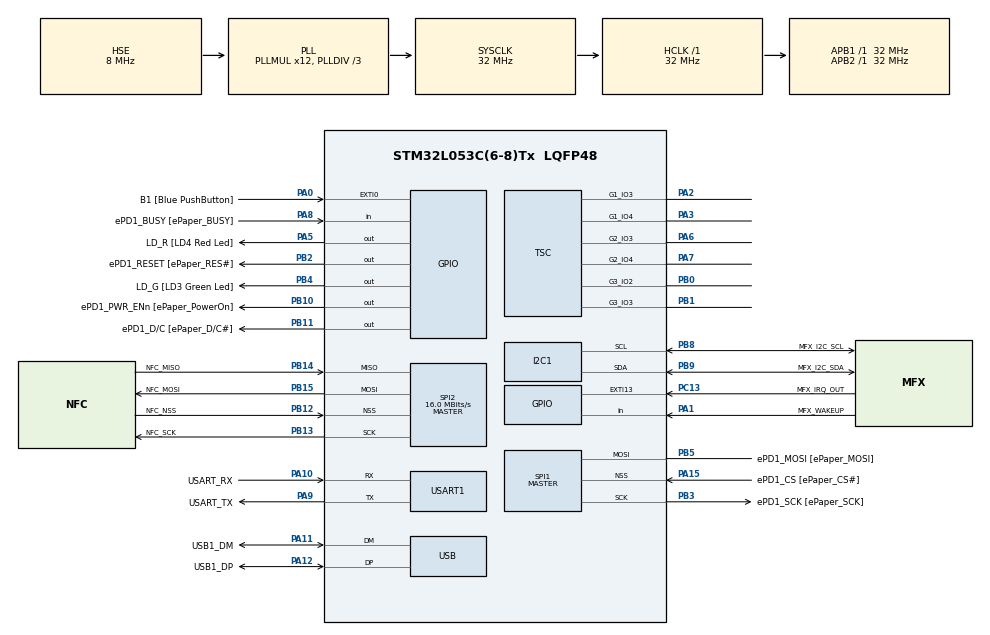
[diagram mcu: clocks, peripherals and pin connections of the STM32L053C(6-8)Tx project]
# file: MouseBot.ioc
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I2C1.Timing=0x00707CBB
Mcu.Family=STM32L0
Mcu.Name=STM32L053C(6-8)Tx
Mcu.Package=LQFP48
NVIC.USB_IRQn=true\:0\:0\:false\:false\:true\:false\:true
PA0.GPIO_Label=B1 [Blue PushButton]
PA0.GPIO_ModeDefaultEXTI=GPIO_MODE_EVT_RISING
PA0.GPIO_PuPd=GPIO_NOPULL
PA0.Signal=GPXTI0
PA1.GPIO_Label=MFX_WAKEUP
PA1.Signal=GPIO_Input
PA10.GPIO_Label=USART_RX
PA10.Mode=Asynchronous
PA10.Signal=USART1_RX
PA11.GPIO_Label=USB1_DM
PA11.Mode=Device
PA11.Signal=USB_DM
PA12.GPIO_Label=USB1_DP
PA12.Mode=Device
PA12.Signal=USB_DP
PA13.GPIO_Label=SWDIO
PA13.Mode=Serial_Wire
PA13.Signal=SYS_SWDIO
PA14.GPIO_Label=SWCLK
PA14.Mode=Serial_Wire
PA14.Signal=SYS_SWCLK
PA15.GPIO_Label=ePD1_CS [ePaper_CS\#]
PA15.GPIO_Mode=GPIO_MODE_AF_PP
PA15.GPIO_PuPd=GPIO_NOPULL
PA15.GPIO_Speed=GPIO_SPEED_FREQ_LOW
PA15.Mode=NSS_Signal_Hard_Input
PA15.Signal=SPI1_NSS
PA2.Mode=G1_IO3-Channel
PA2.Signal=TSC_G1_IO3
PA3.Mode=G1_IO4-Sampling
PA3.Signal=TSC_G1_IO4
PA5.GPIO_Label=LD_R [LD4 Red Led]
PA5.GPIO_ModeDefaultOutputPP=GPIO_MODE_OUTPUT_PP
PA5.GPIO_PuPd=GPIO_NOPULL
PA5.GPIO_Speed=GPIO_SPEED_FREQ_LOW
PA5.Signal=GPIO_Output
PA6.Mode=G2_IO3-Channel
PA6.Signal=TSC_G2_IO3
PA7.Mode=G2_IO4-Sampling
PA7.Signal=TSC_G2_IO4
PA8.GPIO_Label=ePD1_BUSY [ePaper_BUSY]
PA8.GPIO_Mode=GPIO_MODE_INPUT
PA8.GPIO_PuPd=GPIO_NOPULL
PA8.Signal=GPIO_Input
PA9.GPIO_Label=USART_TX
PA9.Mode=Asynchronous
PA9.Signal=USART1_TX
PB0.Mode=G3_IO2-Channel
PB0.Signal=TSC_G3_IO2
PB1.Mode=G3_IO3-Sampling
PB1.Signal=TSC_G3_IO3
PB10.GPIO_Label=ePD1_PWR_ENn [ePaper_PowerOn]
PB10.GPIO_ModeDefaultOutputPP=GPIO_MODE_OUTPUT_PP
PB10.GPIO_PuPd=GPIO_NOPULL
PB10.GPIO_Speed=GPIO_SPEED_FREQ_LOW
PB10.Signal=GPIO_Output
PB11.GPIO_Label=ePD1_D/C [ePaper_D/C\#]
PB11.GPIO_ModeDefaultOutputPP=GPIO_MODE_OUTPUT_PP
PB11.GPIO_PuPd=GPIO_NOPULL
PB11.GPIO_Speed=GPIO_SPEED_FREQ_LOW
PB11.Signal=GPIO_Output
PB12.GPIO_Label=NFC_NSS
PB12.Mode=NSS_Signal_Hard_Input
PB12.Signal=SPI2_NSS
PB13.GPIO_Label=NFC_SCK
PB13.Mode=Full_Duplex_Master
PB13.Signal=SPI2_SCK
PB14.GPIO_Label=NFC_MISO
PB14.Mode=Full_Duplex_Master
PB14.Signal=SPI2_MISO
PB15.GPIO_Label=NFC_MOSI
PB15.Mode=Full_Duplex_Master
PB15.Signal=SPI2_MOSI
PB2.GPIO_Label=ePD1_RESET [ePaper_RES\#]
PB2.GPIO_ModeDefaultOutputPP=GPIO_MODE_OUTPUT_PP
PB2.GPIO_PuPd=GPIO_NOPULL
PB2.GPIO_Speed=GPIO_SPEED_FREQ_LOW
PB2.Signal=GPIO_Output
PB3.GPIO_Label=ePD1_SCK [ePaper_SCK]
PB3.GPIO_Mode=GPIO_MODE_AF_PP
PB3.GPIO_PuPd=GPIO_NOPULL
PB3.GPIO_Speed=GPIO_SPEED_FREQ_LOW
PB3.Mode=Simplex_Bidirectional_Master
PB3.Signal=SPI1_SCK
PB4.GPIO_Label=LD_G [LD3 Green Led]
PB4.GPIO_ModeDefaultOutputPP=GPIO_MODE_OUTPUT_PP
PB4.GPIO_PuPd=GPIO_NOPULL
PB4.GPIO_Speed=GPIO_SPEED_FREQ_LOW
PB4.Signal=GPIO_Output
PB5.GPIO_Label=ePD1_MOSI [ePaper_MOSI]
PB5.GPIO_Mode=GPIO_MODE_AF_PP
PB5.GPIO_PuPd=GPIO_NOPULL
PB5.GPIO_Speed=GPIO_SPEED_FREQ_LOW
PB5.Mode=Simplex_Bidirectional_Master
PB5.Signal=SPI1_MOSI
PB8.GPIO_Label=MFX_I2C_SCL
PB8.Mode=I2C
PB8.Signal=I2C1_SCL
PB9.GPIO_Label=MFX_I2C_SDA
PB9.Mode=I2C
PB9.Signal=I2C1_SDA
PC13.GPIO_Label=MFX_IRQ_OUT
PC13.Signal=GPXTI13
PC14-OSC32_IN.GPIO_Label=PC14-OSC32_IN
PC14-OSC32_IN.Signal=RCC_OSC32_IN
PC15-OSC32_OUT.GPIO_Label=PC15-OSC32_OUT
PC15-OSC32_OUT.Signal=RCC_OSC32_OUT
PH0-OSC_IN.GPIO_Label=MCO
PH0-OSC_IN.Mode=HSE-External-Clock-Source
PH0-OSC_IN.Signal=RCC_OSC_IN
ProjectManager.HeapSize=0x200
ProjectManager.StackSize=0x400
ProjectManager.TargetToolchain=STM32CubeIDE
RCC.AHBFreq_Value=32000000
RCC.APB1Freq_Value=32000000
RCC.APB1TimFreq_Value=32000000
RCC.APB2Freq_Value=32000000
RCC.APB2TimFreq_Value=32000000
RCC.HCLKFreq_Value=32000000
RCC.HSE_VALUE=8000000
RCC.HSI16_VALUE=16000000
RCC.HSI48MClockSelection=RCC_USBCLKSOURCE_HSI48
RCC.HSI48_VALUE=48000000
RCC.HSI_VALUE=16000000
RCC.LSE_VALUE=32768
RCC.MSI_VALUE=2097000
RCC.PLLDIV=RCC_PLLDIV_3
RCC.PLLMUL=RCC_PLLMUL_12
RCC.PLLSourceVirtual=RCC_PLLSOURCE_HSE
RCC.RTCClockSelectionVirtual=RCC_RTCCLKSOURCE_LSE
RCC.SYSCLKFreq_VALUE=32000000
RCC.SYSCLKSource=RCC_SYSCLKSOURCE_PLLCLK
RCC.VCOOutputFreq_Value=96000000
SPI1.CalculateBaudRate-Simplex_Bidirectional_Master=16.0 MBits/s
SPI1.Direction=SPI_DIRECTION_1LINE
SPI1.Direction-Simplex_Bidirectional_Master=SPI_DIRECTION_1LINE
SPI1.Mode=SPI_MODE_MASTER
SPI1.Mode-Simplex_Bidirectional_Master=SPI_MODE_MASTER
SPI1.NSS-Simplex_Bidirectional_Master=SPI_NSS_HARD_OUTPUT
SPI1.TIMode-Simplex_Bidirectional_Master=SPI_TIMODE_DISABLE
SPI1.VirtualNSS=VM_NSSHARD
SPI1.VirtualType=VM_MASTER
SPI2.CalculateBaudRate=16.0 MBits/s
SPI2.Direction=SPI_DIRECTION_2LINES
SPI2.Mode=SPI_MODE_MASTER
SPI2.VirtualNSS=VM_NSSHARD
SPI2.VirtualType=VM_MASTER
USART1.VirtualMode-Asynchronous=VM_ASYNC
USB_DEVICE.CLASS_NAME_FS=HID
USB_DEVICE.PRODUCT_STRING_HID_FS=STM32 Mouse
USB_DEVICE.VirtualMode=Hid
USB_DEVICE.VirtualModeFS=Hid_FS
VP_USB_DEVICE_VS_USB_DEVICE_HID_FS.Mode=HID_FS
board=STM32L0538-DISCO

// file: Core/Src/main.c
/* USER CODE BEGIN Header */
/**
  ******************************************************************************
  * @file           : main.c
  * @brief          : Main program body
  ******************************************************************************
  * @attention
  *
  * <h2><center>&copy; Copyright (c) 2022 STMicroelectronics.
  * All rights reserved.</center></h2>
  *
  * This software component is licensed by ST under BSD 3-Clause license,
  * the "License"; You may not use this file except in compliance with the
  * License. You may obtain a copy of the License at:
  *                        opensource.org/licenses/BSD-3-Clause
  *
  ******************************************************************************
  */
/* USER CODE END Header */

#include "main.h"
#include "i2c.h"
#include "spi.h"
#include "tsc.h"
#include "usart.h"
#include "usb_device.h"
#include "gpio.h"

void SystemClock_Config(void);

/* USER CODE BEGIN 0 */
extern USBD_HandleTypeDef hUsbDeviceFS;
struct mouseHID_t {
      uint8_t buttons;
      int8_t x;
      int8_t y;
      int8_t wheel;
  };
/* USER CODE END 0 */

int main(void)
{
  /* USER CODE BEGIN 1 */
    struct mouseHID_t mouseHID;
    uint32_t i = 0;
  /* USER CODE END 1 */

  /* MCU Configuration--------------------------------------------------------*/

  /* Reset of all peripherals, Initializes the Flash interface and the Systick. */
  HAL_Init();

  /* Configure the system clock */
  SystemClock_Config();

  /* Initialize all configured peripherals */
  MX_GPIO_Init();
  MX_I2C1_Init();
  MX_SPI1_Init();
  MX_SPI2_Init();
  MX_TSC_Init();
  MX_USART1_UART_Init();
  MX_USB_DEVICE_Init();
  /* USER CODE BEGIN 2 */
  mouseHID.y = 0;
  mouseHID.buttons = 0;
  mouseHID.wheel = 0;
  /* USER CODE END 2 */

  /* Infinite loop */
  /* USER CODE BEGIN WHILE */
  while (1)
  {
      for(i=0;i<50;++i)
      {
          mouseHID.x = 1;
          USBD_HID_SendReport(&hUsbDeviceFS, &mouseHID, sizeof(struct mouseHID_t));
          HAL_Delay(20);
      }

      for(i=0;i<50;++i)
      {
          mouseHID.x = -1;
          USBD_HID_SendReport(&hUsbDeviceFS, &mouseHID, sizeof(struct mouseHID_t));
          HAL_Delay(20);
      }
    /* USER CODE END WHILE */

  }
}

void SystemClock_Config(void)
{
  RCC_OscInitTypeDef RCC_OscInitStruct = {0};
  RCC_ClkInitTypeDef RCC_ClkInitStruct = {0};
  RCC_PeriphCLKInitTypeDef PeriphClkInit = {0};

  /** Configure the main internal regulator output voltage
  */
  __HAL_PWR_VOLTAGESCALING_CONFIG(PWR_REGULATOR_VOLTAGE_SCALE1);
  /** Initializes the CPU, AHB and APB busses clocks
  */
  RCC_OscInitStruct.OscillatorType = RCC_OSCILLATORTYPE_HSE|RCC_OSCILLATORTYPE_HSI48;
  RCC_OscInitStruct.HSEState = RCC_HSE_BYPASS;
  RCC_OscInitStruct.HSI48State = RCC_HSI48_ON;
  RCC_OscInitStruct.PLL.PLLState = RCC_PLL_ON;
  RCC_OscInitStruct.PLL.PLLSource = RCC_PLLSOURCE_HSE;
  RCC_OscInitStruct.PLL.PLLMUL = RCC_PLLMUL_12;
  RCC_OscInitStruct.PLL.PLLDIV = RCC_PLLDIV_3;
  if (HAL_RCC_OscConfig(&RCC_OscInitStruct) != HAL_OK)
  {
    Error_Handler();
  }
  /** Initializes the CPU, AHB and APB busses clocks
  */
  RCC_ClkInitStruct.ClockType = RCC_CLOCKTYPE_HCLK|RCC_CLOCKTYPE_SYSCLK
                              |RCC_CLOCKTYPE_PCLK1|RCC_CLOCKTYPE_PCLK2;
  RCC_ClkInitStruct.SYSCLKSource = RCC_SYSCLKSOURCE_PLLCLK;
  RCC_ClkInitStruct.AHBCLKDivider = RCC_SYSCLK_DIV1;
  RCC_ClkInitStruct.APB1CLKDivider = RCC_HCLK_DIV1;
  RCC_ClkInitStruct.APB2CLKDivider = RCC_HCLK_DIV1;

  if (HAL_RCC_ClockConfig(&RCC_ClkInitStruct, FLASH_LATENCY_1) != HAL_OK)
  {
    Error_Handler();
  }
  PeriphClkInit.PeriphClockSelection = RCC_PERIPHCLK_USART1|RCC_PERIPHCLK_I2C1
                              |RCC_PERIPHCLK_USB;
  PeriphClkInit.Usart1ClockSelection = RCC_USART1CLKSOURCE_PCLK2;
  PeriphClkInit.I2c1ClockSelection = RCC_I2C1CLKSOURCE_PCLK1;
  PeriphClkInit.UsbClockSelection = RCC_USBCLKSOURCE_HSI48;
  if (HAL_RCCEx_PeriphCLKConfig(&PeriphClkInit) != HAL_OK)
  {
    Error_Handler();
  }
}

void Error_Handler(void)
{
}

/************************ (C) COPYRIGHT STMicroelectronics *****END OF FILE****/
